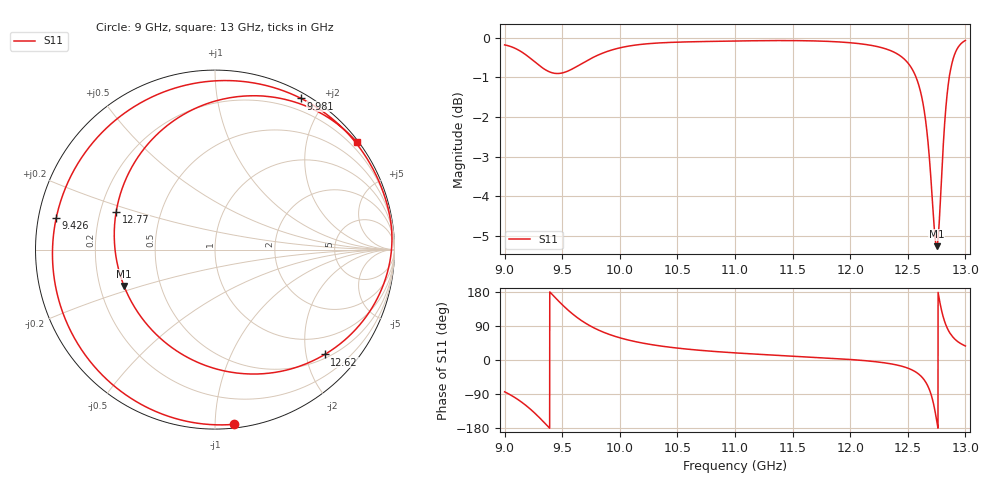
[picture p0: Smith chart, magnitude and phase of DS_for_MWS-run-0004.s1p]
! TOUCHSTONE file generated by CST DESIGN STUDIO
! Date and time: Tue Feb  4 16:27:43 2025
! Project name: C:\Work\MatlabApps\UnitCellOptimizationMatlab\CST\unitcell.cst
! Tree item: Tasks\Sweep1\SPara1\S-Parameters
! Header version: 2024
! Port assignment regex: !\s*Touchstone port\s*([0-9]+)\s*=\s*(CST MWS port|CST DES external port|CST DES block port)\s*(.+)\s* \(\"(.*)\"\)(\s*mode\s*([0-9]+))?.*
! Touchstone port assignment:
! Touchstone port 1 = CST DES external port 1 ("")
# GHz S MA R 50
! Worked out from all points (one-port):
!   4001 points, 9 GHz to 13 GHz, reference 50 ohm
!   lowest |S11| = -5.3 dB at 12.75 GHz (marker M1), VSWR 3.41, Z = 15.2 - j8.76 ohm
!   |S11| at or under -10 dB: nowhere
!   S11 on the Smith chart (normalised r, x): 9 GHz: 0.02, -1.11; 9.426 GHz: 0.05, +0.10; 9.981 GHz: 0.06, +1.72; 12.62 GHz: 0.58, -2.38; 12.77 GHz: 0.27, +0.17; 13 GHz: 0.04, +2.99
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9  0.9792 -83.9
9.114  0.9658 -104.0
9.21  0.9452 -126.1
9.327  0.9164 -159.7
9.426  0.9021 168.8
9.5  0.9026 146.0
9.591  0.9137 121.3
9.69  0.931 99.5
9.831  0.9534 76.8
9.981  0.9693 60.3
10  0.9708 58.6
10.215  0.9816 43.7
10.5  0.987 31.4
11  0.9902 18.8
11.5  0.9914 10.2
12  0.9853 1.4
12.305  0.9683 -7.8
12.5  0.9296 -21.4
12.618  0.8459 -43.7
12.66  0.7752 -60.6
12.698  0.6731 -87.0
12.724  0.5907 -116.4
12.75  0.546 -158.2
12.774  0.589 159.4
12.808  0.7323 113.1
12.843  0.8527 83.8
12.91  0.9555 54.6
13  0.9918 37.0
